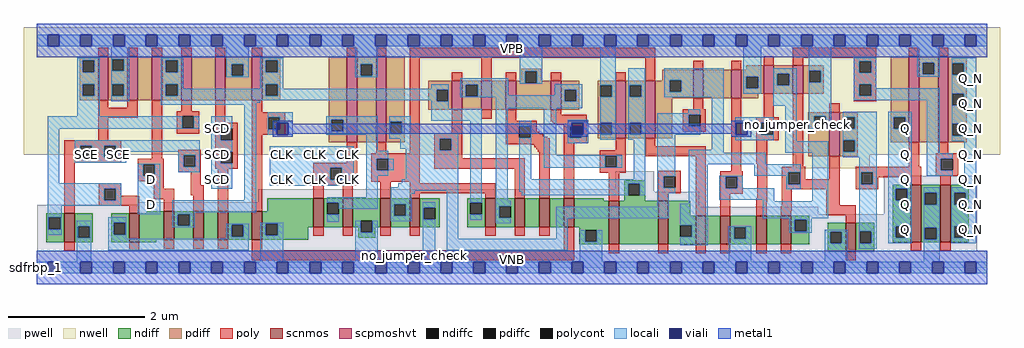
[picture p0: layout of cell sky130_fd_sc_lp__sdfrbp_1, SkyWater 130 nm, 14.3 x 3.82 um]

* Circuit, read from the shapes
.subckt sky130_fd_sc_lp__sdfrbp_1 CLK D RESET_B SCD SCE VGND VNB VPB VPWR Q Q_N
XM1 VGND SCE n1 VNB sky130_fd_pr__nfet_01v8 w=0.42 l=0.15
XM2 n2 n1 n3 VNB sky130_fd_pr__nfet_01v8 w=0.42 l=0.15
XM3 n4 D n2 VNB sky130_fd_pr__nfet_01v8 w=0.42 l=0.15
XM4 n5 SCE n4 VNB sky130_fd_pr__nfet_01v8 w=0.42 l=0.15
XM5 n3 SCD n5 VNB sky130_fd_pr__nfet_01v8 w=0.42 l=0.15
XM6 VGND RESET_B n3 VNB sky130_fd_pr__nfet_01v8 w=0.42 l=0.15
XM7 n6 CLK VGND VNB sky130_fd_pr__nfet_01v8 w=0.42 l=0.15 m=2
XM8 n7 n6 VGND VNB sky130_fd_pr__nfet_01v8 w=0.42 l=0.15 m=2
XM9 n8 n6 n4 VNB sky130_fd_pr__nfet_01v8 w=0.42 l=0.15
XM10 n9 n7 n8 VNB sky130_fd_pr__nfet_01v8 w=0.42 l=0.15
XM11 n10 n11 n9 VNB sky130_fd_pr__nfet_01v8 w=0.42 l=0.15
XM12 VGND RESET_B n10 VNB sky130_fd_pr__nfet_01v8 w=0.42 l=0.15
XM13 n11 n8 VGND VNB sky130_fd_pr__nfet_01v8 w=0.64 l=0.15
XM14 n12 n7 n11 VNB sky130_fd_pr__nfet_01v8 w=0.64 l=0.15
XM15 n13 n6 n12 VNB sky130_fd_pr__nfet_01v8 w=0.42 l=0.15
XM16 VGND n14 n13 VNB sky130_fd_pr__nfet_01v8 w=0.42 l=0.15
XM17 n15 RESET_B VGND VNB sky130_fd_pr__nfet_01v8 w=0.42 l=0.15
XM18 n14 n12 n15 VNB sky130_fd_pr__nfet_01v8 w=0.42 l=0.15
XM19 n16 n12 VGND VNB sky130_fd_pr__nfet_01v8 w=0.42 l=0.15
XM20 VGND n16 Q VNB sky130_fd_pr__nfet_01v8 w=0.84 l=0.15
XM21 Q_N n12 VGND VNB sky130_fd_pr__nfet_01v8 w=0.84 l=0.15
XM22 VPWR SCE n1 VPB sky130_fd_pr__pfet_01v8_hvt w=0.64 l=0.15
XM23 n17 SCE VPWR VPB sky130_fd_pr__pfet_01v8_hvt w=0.64 l=0.15
XM24 n4 D n17 VPB sky130_fd_pr__pfet_01v8_hvt w=0.64 l=0.15
XM25 n18 n1 n4 VPB sky130_fd_pr__pfet_01v8_hvt w=0.64 l=0.15
XM26 VPWR SCD n18 VPB sky130_fd_pr__pfet_01v8_hvt w=0.64 l=0.15
XM27 n4 RESET_B VPWR VPB sky130_fd_pr__pfet_01v8_hvt w=0.64 l=0.15
XM28 VPWR CLK n6 VPB sky130_fd_pr__pfet_01v8_hvt w=1.26 l=0.15
XM29 n7 n6 VPWR VPB sky130_fd_pr__pfet_01v8_hvt w=1.26 l=0.15
XM30 n8 n7 n4 VPB sky130_fd_pr__pfet_01v8_hvt w=0.42 l=0.15
XM31 n19 n6 n8 VPB sky130_fd_pr__pfet_01v8_hvt w=0.42 l=0.15
XM32 VPWR n11 n19 VPB sky130_fd_pr__pfet_01v8_hvt w=0.42 l=0.15
XM33 n8 RESET_B VPWR VPB sky130_fd_pr__pfet_01v8_hvt w=0.42 l=0.15
XM34 n11 n8 VPWR VPB sky130_fd_pr__pfet_01v8_hvt w=0.84 l=0.15
XM35 n12 n6 n11 VPB sky130_fd_pr__pfet_01v8_hvt w=0.84 l=0.15
XM36 n20 n7 n12 VPB sky130_fd_pr__pfet_01v8_hvt w=0.42 l=0.15
XM37 VPWR n14 n20 VPB sky130_fd_pr__pfet_01v8_hvt w=0.42 l=0.15
XM38 n14 RESET_B VPWR VPB sky130_fd_pr__pfet_01v8_hvt w=0.42 l=0.15
XM39 VPWR n12 n14 VPB sky130_fd_pr__pfet_01v8_hvt w=0.42 l=0.15
XM40 n16 n12 VPWR VPB sky130_fd_pr__pfet_01v8_hvt w=0.64 l=0.15
XM41 VPWR n16 Q VPB sky130_fd_pr__pfet_01v8_hvt w=1.26 l=0.15
XM42 Q_N n12 VPWR VPB sky130_fd_pr__pfet_01v8_hvt w=1.26 l=0.15
.ends

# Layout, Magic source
magic
tech sky130A
magscale 1 2
<< nwell >>
rect -38 331 2822 704
rect 2224 291 2441 331
<< pwell >>
rect 1695 229 1809 282
rect 649 222 1809 229
rect 649 191 1941 222
rect 296 185 1941 191
rect 1 178 1941 185
rect 1 157 2289 178
rect 2482 157 2756 269
rect 1 49 2756 157
rect 0 0 2784 49
<< scnmos >>
rect 80 75 110 159
rect 270 75 300 159
rect 372 81 402 165
rect 458 81 488 165
rect 530 81 560 165
rect 630 81 660 165
rect 810 119 840 203
rect 896 119 926 203
rect 1006 119 1036 203
rect 1092 119 1122 203
rect 1314 119 1344 203
rect 1400 119 1430 203
rect 1472 119 1502 203
rect 1544 119 1574 203
rect 1676 68 1706 196
rect 1820 68 1850 196
rect 1930 68 1960 152
rect 2002 68 2032 152
rect 2108 68 2138 152
rect 2180 68 2210 152
rect 2370 47 2400 131
rect 2561 75 2591 243
rect 2647 75 2677 243
<< scpmoshvt >>
rect 179 491 209 619
rect 265 491 295 619
rect 337 491 367 619
rect 423 491 453 619
rect 522 491 552 619
rect 630 491 660 619
rect 908 367 938 619
rect 994 367 1024 619
rect 1216 463 1246 547
rect 1302 463 1332 547
rect 1374 463 1404 547
rect 1506 463 1536 547
rect 1696 379 1726 547
rect 1782 379 1812 547
rect 1923 496 1953 580
rect 2034 496 2064 580
rect 2129 509 2159 593
rect 2215 509 2245 593
rect 2322 327 2352 455
rect 2555 367 2585 619
rect 2641 367 2671 619
<< ndiff >>
rect 675 165 810 203
rect 322 159 372 165
rect 27 147 80 159
rect 27 113 35 147
rect 69 113 80 147
rect 27 75 80 113
rect 110 121 163 159
rect 110 87 121 121
rect 155 87 163 121
rect 110 75 163 87
rect 217 131 270 159
rect 217 97 225 131
rect 259 97 270 131
rect 217 75 270 97
rect 300 81 372 159
rect 402 157 458 165
rect 402 123 413 157
rect 447 123 458 157
rect 402 81 458 123
rect 488 81 530 165
rect 560 125 630 165
rect 560 91 571 125
rect 605 91 630 125
rect 560 81 630 91
rect 660 129 810 165
rect 660 95 671 129
rect 705 119 810 129
rect 840 190 896 203
rect 840 156 851 190
rect 885 156 896 190
rect 840 119 896 156
rect 926 138 1006 203
rect 926 119 949 138
rect 705 95 795 119
rect 660 81 795 95
rect 941 104 949 119
rect 983 119 1006 138
rect 1036 186 1092 203
rect 1036 152 1047 186
rect 1081 152 1092 186
rect 1036 119 1092 152
rect 1122 176 1181 203
rect 1122 142 1133 176
rect 1167 142 1181 176
rect 1122 119 1181 142
rect 1261 190 1314 203
rect 1261 156 1269 190
rect 1303 156 1314 190
rect 1261 119 1314 156
rect 1344 180 1400 203
rect 1344 146 1355 180
rect 1389 146 1400 180
rect 1344 119 1400 146
rect 1430 119 1472 203
rect 1502 119 1544 203
rect 1574 196 1661 203
rect 1721 246 1783 256
rect 1721 212 1733 246
rect 1767 212 1783 246
rect 1721 196 1783 212
rect 1574 119 1676 196
rect 983 104 991 119
rect 941 88 991 104
rect 300 75 350 81
rect 1589 110 1676 119
rect 1589 76 1606 110
rect 1640 76 1676 110
rect 1589 68 1676 76
rect 1706 68 1820 196
rect 1850 152 1915 196
rect 2508 231 2561 243
rect 2508 197 2516 231
rect 2550 197 2561 231
rect 1850 124 1930 152
rect 1850 90 1885 124
rect 1919 90 1930 124
rect 1850 68 1930 90
rect 1960 68 2002 152
rect 2032 118 2108 152
rect 2032 84 2043 118
rect 2077 84 2108 118
rect 2032 68 2108 84
rect 2138 68 2180 152
rect 2210 140 2263 152
rect 2210 106 2221 140
rect 2255 106 2263 140
rect 2210 68 2263 106
rect 2317 105 2370 131
rect 2317 71 2325 105
rect 2359 71 2370 105
rect 2317 47 2370 71
rect 2400 106 2453 131
rect 2400 72 2411 106
rect 2445 72 2453 106
rect 2508 121 2561 197
rect 2508 87 2516 121
rect 2550 87 2561 121
rect 2508 75 2561 87
rect 2591 219 2647 243
rect 2591 185 2602 219
rect 2636 185 2647 219
rect 2591 117 2647 185
rect 2591 83 2602 117
rect 2636 83 2647 117
rect 2591 75 2647 83
rect 2677 219 2730 243
rect 2677 185 2688 219
rect 2722 185 2730 219
rect 2677 121 2730 185
rect 2677 87 2688 121
rect 2722 87 2730 121
rect 2677 75 2730 87
rect 2400 47 2453 72
<< pdiff >>
rect 126 607 179 619
rect 126 573 134 607
rect 168 573 179 607
rect 126 537 179 573
rect 126 503 134 537
rect 168 503 179 537
rect 126 491 179 503
rect 209 611 265 619
rect 209 577 220 611
rect 254 577 265 611
rect 209 537 265 577
rect 209 503 220 537
rect 254 503 265 537
rect 209 491 265 503
rect 295 491 337 619
rect 367 607 423 619
rect 367 573 378 607
rect 412 573 423 607
rect 367 537 423 573
rect 367 503 378 537
rect 412 503 423 537
rect 367 491 423 503
rect 453 491 522 619
rect 552 596 630 619
rect 552 562 571 596
rect 605 562 630 596
rect 552 491 630 562
rect 660 607 713 619
rect 660 573 671 607
rect 705 573 713 607
rect 660 537 713 573
rect 660 503 671 537
rect 705 503 713 537
rect 660 491 713 503
rect 855 433 908 619
rect 855 399 863 433
rect 897 399 908 433
rect 855 367 908 399
rect 938 596 994 619
rect 938 562 949 596
rect 983 562 994 596
rect 938 367 994 562
rect 1024 427 1077 619
rect 1024 393 1035 427
rect 1069 393 1077 427
rect 1024 367 1077 393
rect 1419 575 1477 583
rect 1419 547 1431 575
rect 1147 521 1216 547
rect 1147 487 1171 521
rect 1205 487 1216 521
rect 1147 463 1216 487
rect 1246 536 1302 547
rect 1246 502 1257 536
rect 1291 502 1302 536
rect 1246 463 1302 502
rect 1332 463 1374 547
rect 1404 541 1431 547
rect 1465 547 1477 575
rect 2079 580 2129 593
rect 1832 549 1923 580
rect 1832 547 1854 549
rect 1465 541 1506 547
rect 1404 463 1506 541
rect 1536 521 1589 547
rect 1536 487 1547 521
rect 1581 487 1589 521
rect 1536 463 1589 487
rect 1643 535 1696 547
rect 1643 501 1651 535
rect 1685 501 1696 535
rect 1643 425 1696 501
rect 1643 391 1651 425
rect 1685 391 1696 425
rect 1643 379 1696 391
rect 1726 535 1782 547
rect 1726 501 1737 535
rect 1771 501 1782 535
rect 1726 425 1782 501
rect 1726 391 1737 425
rect 1771 391 1782 425
rect 1726 379 1782 391
rect 1812 515 1854 547
rect 1888 515 1923 549
rect 1812 496 1923 515
rect 1953 496 2034 580
rect 2064 559 2129 580
rect 2064 525 2079 559
rect 2113 525 2129 559
rect 2064 509 2129 525
rect 2159 568 2215 593
rect 2159 534 2170 568
rect 2204 534 2215 568
rect 2159 509 2215 534
rect 2245 577 2305 593
rect 2245 543 2263 577
rect 2297 543 2305 577
rect 2245 509 2305 543
rect 2064 496 2114 509
rect 1812 379 1862 496
rect 2260 443 2322 455
rect 2260 409 2277 443
rect 2311 409 2322 443
rect 2260 327 2322 409
rect 2352 441 2405 455
rect 2352 407 2363 441
rect 2397 407 2405 441
rect 2352 373 2405 407
rect 2352 339 2363 373
rect 2397 339 2405 373
rect 2502 441 2555 619
rect 2502 407 2510 441
rect 2544 407 2555 441
rect 2502 367 2555 407
rect 2585 601 2641 619
rect 2585 567 2596 601
rect 2630 567 2641 601
rect 2585 367 2641 567
rect 2671 599 2724 619
rect 2671 565 2682 599
rect 2716 565 2724 599
rect 2671 510 2724 565
rect 2671 476 2682 510
rect 2716 476 2724 510
rect 2671 421 2724 476
rect 2671 387 2682 421
rect 2716 387 2724 421
rect 2671 367 2724 387
rect 2352 327 2405 339
<< ndiffc >>
rect 35 113 69 147
rect 121 87 155 121
rect 225 97 259 131
rect 413 123 447 157
rect 571 91 605 125
rect 671 95 705 129
rect 851 156 885 190
rect 949 104 983 138
rect 1047 152 1081 186
rect 1133 142 1167 176
rect 1269 156 1303 190
rect 1355 146 1389 180
rect 1733 212 1767 246
rect 1606 76 1640 110
rect 2516 197 2550 231
rect 1885 90 1919 124
rect 2043 84 2077 118
rect 2221 106 2255 140
rect 2325 71 2359 105
rect 2411 72 2445 106
rect 2516 87 2550 121
rect 2602 185 2636 219
rect 2602 83 2636 117
rect 2688 185 2722 219
rect 2688 87 2722 121
<< pdiffc >>
rect 134 573 168 607
rect 134 503 168 537
rect 220 577 254 611
rect 220 503 254 537
rect 378 573 412 607
rect 378 503 412 537
rect 571 562 605 596
rect 671 573 705 607
rect 671 503 705 537
rect 863 399 897 433
rect 949 562 983 596
rect 1035 393 1069 427
rect 1171 487 1205 521
rect 1257 502 1291 536
rect 1431 541 1465 575
rect 1547 487 1581 521
rect 1651 501 1685 535
rect 1651 391 1685 425
rect 1737 501 1771 535
rect 1737 391 1771 425
rect 1854 515 1888 549
rect 2079 525 2113 559
rect 2170 534 2204 568
rect 2263 543 2297 577
rect 2277 409 2311 443
rect 2363 407 2397 441
rect 2363 339 2397 373
rect 2510 407 2544 441
rect 2596 567 2630 601
rect 2682 565 2716 599
rect 2682 476 2716 510
rect 2682 387 2716 421
<< poly >>
rect 179 619 209 645
rect 265 619 295 645
rect 337 619 367 645
rect 423 619 453 645
rect 522 619 552 645
rect 630 619 660 645
rect 908 619 938 645
rect 994 619 1024 645
rect 179 469 209 491
rect 265 469 295 491
rect 179 439 295 469
rect 179 373 209 439
rect 80 357 247 373
rect 80 323 127 357
rect 161 323 197 357
rect 231 323 247 357
rect 80 307 247 323
rect 337 319 367 491
rect 423 459 453 491
rect 409 443 475 459
rect 409 409 425 443
rect 459 409 475 443
rect 409 393 475 409
rect 522 424 552 491
rect 630 456 660 491
rect 630 440 728 456
rect 522 408 588 424
rect 522 374 538 408
rect 572 374 588 408
rect 414 329 480 345
rect 80 159 110 307
rect 295 303 372 319
rect 295 269 311 303
rect 345 269 372 303
rect 414 295 430 329
rect 464 295 480 329
rect 414 279 480 295
rect 522 340 588 374
rect 522 306 538 340
rect 572 306 588 340
rect 522 290 588 306
rect 630 406 678 440
rect 712 406 728 440
rect 630 390 728 406
rect 295 253 372 269
rect 181 231 247 247
rect 181 197 197 231
rect 231 211 247 231
rect 342 231 372 253
rect 450 242 480 279
rect 231 197 300 211
rect 342 201 402 231
rect 450 212 488 242
rect 181 181 300 197
rect 270 159 300 181
rect 372 165 402 201
rect 458 165 488 212
rect 530 165 560 290
rect 630 165 660 390
rect 1092 615 1812 645
rect 908 308 938 367
rect 994 335 1024 367
rect 1092 335 1122 615
rect 1216 547 1246 573
rect 1302 547 1332 615
rect 1374 547 1404 573
rect 1506 547 1536 573
rect 1696 547 1726 573
rect 1782 547 1812 615
rect 1923 580 1953 606
rect 2034 580 2064 606
rect 2129 593 2159 619
rect 2215 615 2460 645
rect 2555 619 2585 645
rect 2641 619 2671 645
rect 2215 593 2245 615
rect 2394 605 2460 615
rect 1216 394 1246 463
rect 1302 437 1332 463
rect 810 292 938 308
rect 810 258 859 292
rect 893 258 938 292
rect 810 242 938 258
rect 980 319 1122 335
rect 980 285 996 319
rect 1030 285 1122 319
rect 1164 378 1246 394
rect 1164 344 1180 378
rect 1214 344 1246 378
rect 1374 431 1404 463
rect 1506 448 1536 463
rect 1374 415 1464 431
rect 1506 429 1611 448
rect 1510 426 1611 429
rect 1515 422 1611 426
rect 1519 418 1611 422
rect 1374 381 1413 415
rect 1447 398 1464 415
rect 1544 415 1611 418
rect 1447 392 1472 398
rect 1447 383 1484 392
rect 1447 381 1495 383
rect 1374 379 1495 381
rect 1544 381 1561 415
rect 1595 381 1611 415
rect 1374 362 1502 379
rect 1446 360 1502 362
rect 1457 353 1502 360
rect 1463 347 1502 353
rect 1164 320 1246 344
rect 1468 339 1502 347
rect 1164 290 1430 320
rect 980 252 1122 285
rect 810 203 840 242
rect 896 203 926 242
rect 1006 203 1036 252
rect 1092 248 1122 252
rect 1092 218 1344 248
rect 1092 203 1122 218
rect 1314 203 1344 218
rect 1400 203 1430 290
rect 1472 203 1502 339
rect 1544 364 1611 381
rect 2394 571 2410 605
rect 2444 571 2460 605
rect 2394 537 2460 571
rect 1923 464 1953 496
rect 1892 448 1960 464
rect 1892 414 1910 448
rect 1944 414 1960 448
rect 1892 398 1960 414
rect 1544 203 1574 364
rect 1696 344 1726 379
rect 1649 328 1726 344
rect 1649 294 1665 328
rect 1699 294 1726 328
rect 1782 356 1812 379
rect 1782 326 1960 356
rect 1649 278 1726 294
rect 810 93 840 119
rect 896 93 926 119
rect 1676 196 1706 278
rect 1820 268 1886 284
rect 1820 234 1836 268
rect 1870 234 1886 268
rect 1820 218 1886 234
rect 1820 196 1850 218
rect 1006 93 1036 119
rect 1092 93 1122 119
rect 1314 93 1344 119
rect 1400 93 1430 119
rect 1472 93 1502 119
rect 80 49 110 75
rect 270 49 300 75
rect 372 55 402 81
rect 458 55 488 81
rect 530 55 560 81
rect 630 51 660 81
rect 1544 51 1574 119
rect 1930 152 1960 326
rect 2034 283 2064 496
rect 2129 440 2159 509
rect 2107 424 2173 440
rect 2107 390 2123 424
rect 2157 390 2173 424
rect 2107 374 2173 390
rect 2108 304 2140 374
rect 2002 267 2068 283
rect 2002 233 2018 267
rect 2052 233 2068 267
rect 2002 217 2068 233
rect 2002 152 2032 217
rect 2110 204 2140 304
rect 2215 295 2245 509
rect 2394 503 2410 537
rect 2444 503 2460 537
rect 2394 487 2460 503
rect 2322 455 2352 481
rect 2108 193 2140 204
rect 2182 279 2252 295
rect 2182 245 2202 279
rect 2236 259 2252 279
rect 2322 259 2352 327
rect 2555 295 2585 367
rect 2641 335 2671 367
rect 2633 319 2699 335
rect 2236 245 2352 259
rect 2182 229 2352 245
rect 2399 279 2591 295
rect 2399 245 2415 279
rect 2449 265 2591 279
rect 2633 285 2649 319
rect 2683 285 2699 319
rect 2633 269 2699 285
rect 2449 245 2465 265
rect 2399 229 2465 245
rect 2561 243 2591 265
rect 2647 243 2677 269
rect 2108 152 2138 193
rect 2182 180 2212 229
rect 2180 167 2212 180
rect 2313 183 2352 229
rect 2180 152 2210 167
rect 2313 153 2400 183
rect 2370 131 2400 153
rect 630 21 1574 51
rect 1676 42 1706 68
rect 1820 42 1850 68
rect 1930 42 1960 68
rect 2002 42 2032 68
rect 2108 42 2138 68
rect 2180 42 2210 68
rect 2561 49 2591 75
rect 2647 49 2677 75
rect 2370 21 2400 47
<< polycont >>
rect 127 323 161 357
rect 197 323 231 357
rect 425 409 459 443
rect 538 374 572 408
rect 311 269 345 303
rect 430 295 464 329
rect 538 306 572 340
rect 678 406 712 440
rect 197 197 231 231
rect 859 258 893 292
rect 996 285 1030 319
rect 1180 344 1214 378
rect 1413 381 1447 415
rect 1561 381 1595 415
rect 2410 571 2444 605
rect 1910 414 1944 448
rect 1665 294 1699 328
rect 1836 234 1870 268
rect 2123 390 2157 424
rect 2018 233 2052 267
rect 2410 503 2444 537
rect 2202 245 2236 279
rect 2415 245 2449 279
rect 2649 285 2683 319
<< locali >>
rect 0 649 31 683
rect 65 649 127 683
rect 161 649 223 683
rect 257 649 319 683
rect 353 649 415 683
rect 449 649 511 683
rect 545 649 607 683
rect 641 649 703 683
rect 737 649 799 683
rect 833 649 895 683
rect 929 649 991 683
rect 1025 649 1087 683
rect 1121 649 1183 683
rect 1217 649 1279 683
rect 1313 649 1375 683
rect 1409 649 1471 683
rect 1505 649 1567 683
rect 1601 649 1663 683
rect 1697 649 1759 683
rect 1793 649 1855 683
rect 1889 649 1951 683
rect 1985 649 2047 683
rect 2081 649 2143 683
rect 2177 649 2239 683
rect 2273 649 2335 683
rect 2369 649 2431 683
rect 2465 649 2527 683
rect 2561 649 2623 683
rect 2657 649 2719 683
rect 2753 649 2784 683
rect 118 607 184 615
rect 118 573 134 607
rect 168 573 184 607
rect 118 537 184 573
rect 118 503 134 537
rect 168 503 184 537
rect 118 443 184 503
rect 218 611 270 649
rect 218 577 220 611
rect 254 577 270 611
rect 218 537 270 577
rect 218 503 220 537
rect 254 503 270 537
rect 218 487 270 503
rect 362 607 428 615
rect 362 573 378 607
rect 412 573 428 607
rect 362 537 428 573
rect 555 596 621 649
rect 555 562 571 596
rect 605 562 621 596
rect 555 558 621 562
rect 655 607 721 615
rect 655 573 671 607
rect 705 573 721 607
rect 362 503 378 537
rect 412 524 428 537
rect 655 537 721 573
rect 933 596 999 649
rect 933 562 949 596
rect 983 562 999 596
rect 933 558 999 562
rect 1415 575 1481 649
rect 655 524 671 537
rect 412 503 671 524
rect 705 524 721 537
rect 1155 524 1207 537
rect 705 521 1207 524
rect 705 503 1171 521
rect 362 490 1171 503
rect 362 483 655 490
rect 1155 487 1171 490
rect 1205 487 1207 521
rect 1241 536 1381 555
rect 1415 541 1431 575
rect 1465 541 1481 575
rect 1415 539 1481 541
rect 1241 502 1257 536
rect 1291 505 1381 536
rect 1517 521 1598 537
rect 1517 505 1547 521
rect 1291 502 1547 505
rect 1241 499 1547 502
rect 362 477 642 483
rect 31 409 425 443
rect 459 409 475 443
rect 31 407 475 409
rect 511 408 572 443
rect 31 247 65 407
rect 511 374 538 408
rect 111 357 477 373
rect 111 323 127 357
rect 161 323 197 357
rect 231 339 477 357
rect 231 323 261 339
rect 111 307 261 323
rect 414 329 477 339
rect 295 303 361 305
rect 295 269 311 303
rect 345 269 361 303
rect 414 295 430 329
rect 464 295 477 329
rect 414 279 477 295
rect 511 340 572 374
rect 511 306 538 340
rect 31 231 247 247
rect 31 197 197 231
rect 231 197 247 231
rect 31 181 247 197
rect 31 147 73 181
rect 295 156 361 269
rect 511 231 572 306
rect 608 197 642 477
rect 1155 465 1207 487
rect 1345 487 1547 499
rect 1581 487 1598 521
rect 1345 467 1598 487
rect 1650 535 1696 649
rect 1650 501 1651 535
rect 1685 501 1696 535
rect 676 440 750 456
rect 676 406 678 440
rect 712 424 750 440
rect 676 390 703 406
rect 737 390 750 424
rect 847 433 999 443
rect 847 399 863 433
rect 897 399 999 433
rect 847 390 999 399
rect 682 292 929 356
rect 682 258 859 292
rect 893 258 929 292
rect 682 240 929 258
rect 965 343 999 390
rect 1033 427 1096 443
rect 1155 431 1303 465
rect 1033 393 1035 427
rect 1069 394 1096 427
rect 1069 393 1235 394
rect 1033 378 1235 393
rect 1033 377 1180 378
rect 1064 348 1180 377
rect 1080 344 1180 348
rect 1214 344 1235 378
rect 965 319 1030 343
rect 965 285 996 319
rect 1030 285 1046 319
rect 965 269 1030 285
rect 965 206 999 269
rect 1080 259 1235 344
rect 1069 247 1235 259
rect 1058 235 1235 247
rect 397 163 642 197
rect 851 190 999 206
rect 397 157 463 163
rect 31 113 35 147
rect 69 113 73 147
rect 31 97 73 113
rect 117 121 159 137
rect 117 87 121 121
rect 155 87 159 121
rect 117 17 159 87
rect 209 131 261 147
rect 209 97 225 131
rect 259 97 261 131
rect 397 123 413 157
rect 447 123 463 157
rect 885 172 999 190
rect 1037 226 1235 235
rect 1037 217 1107 226
rect 1037 186 1097 217
rect 851 134 885 156
rect 1037 152 1047 186
rect 1081 152 1097 186
rect 655 129 721 131
rect 397 119 463 123
rect 555 125 621 129
rect 209 85 261 97
rect 555 91 571 125
rect 605 91 621 125
rect 555 85 621 91
rect 209 51 621 85
rect 655 95 671 129
rect 705 95 721 129
rect 655 17 721 95
rect 933 104 949 138
rect 983 104 999 138
rect 1037 136 1097 152
rect 1131 176 1167 192
rect 1131 142 1133 176
rect 933 17 999 104
rect 1131 17 1167 142
rect 1201 85 1235 226
rect 1269 190 1303 431
rect 1269 140 1303 156
rect 1345 196 1379 467
rect 1413 415 1449 431
rect 1447 381 1449 415
rect 1413 259 1449 381
rect 1485 330 1521 467
rect 1555 424 1616 433
rect 1555 415 1567 424
rect 1555 381 1561 415
rect 1601 390 1616 424
rect 1595 381 1616 390
rect 1555 364 1616 381
rect 1650 425 1696 501
rect 1650 391 1651 425
rect 1685 391 1696 425
rect 1650 375 1696 391
rect 1732 535 1783 584
rect 1732 501 1737 535
rect 1771 501 1783 535
rect 1732 425 1783 501
rect 1838 549 2012 584
rect 1838 515 1854 549
rect 1888 515 2012 549
rect 1838 499 2012 515
rect 2070 559 2122 649
rect 2070 525 2079 559
rect 2113 525 2122 559
rect 2070 509 2122 525
rect 2158 568 2227 584
rect 2158 534 2170 568
rect 2204 534 2227 568
rect 1908 452 1944 464
rect 1732 391 1737 425
rect 1771 391 1783 425
rect 1732 375 1783 391
rect 1485 328 1715 330
rect 1485 294 1665 328
rect 1699 294 1715 328
rect 1485 293 1715 294
rect 1749 259 1783 375
rect 1413 246 1783 259
rect 1413 222 1733 246
rect 1421 212 1733 222
rect 1767 212 1783 246
rect 1817 448 1944 452
rect 1817 414 1910 448
rect 1817 390 1944 414
rect 1817 268 1870 390
rect 1978 345 2012 499
rect 2158 474 2227 534
rect 2046 424 2159 440
rect 2046 390 2047 424
rect 2081 390 2123 424
rect 2157 390 2159 424
rect 2046 374 2159 390
rect 1817 234 1836 268
rect 1817 218 1870 234
rect 1910 337 2012 345
rect 2193 371 2227 474
rect 2261 577 2327 649
rect 2261 543 2263 577
rect 2297 543 2327 577
rect 2261 443 2327 543
rect 2394 605 2460 615
rect 2394 571 2410 605
rect 2444 571 2460 605
rect 2394 537 2460 571
rect 2580 601 2646 649
rect 2580 567 2596 601
rect 2630 567 2646 601
rect 2580 559 2646 567
rect 2680 599 2753 615
rect 2680 565 2682 599
rect 2716 565 2753 599
rect 2394 503 2410 537
rect 2444 525 2460 537
rect 2444 503 2646 525
rect 2394 491 2646 503
rect 2261 409 2277 443
rect 2311 409 2327 443
rect 2261 405 2327 409
rect 2361 441 2461 457
rect 2361 407 2363 441
rect 2397 407 2461 441
rect 2361 373 2461 407
rect 2193 337 2318 371
rect 1910 303 2136 337
rect 1345 180 1389 196
rect 1345 146 1355 180
rect 1817 178 1851 218
rect 1910 187 1966 303
rect 2102 279 2238 303
rect 2102 269 2202 279
rect 2000 267 2068 269
rect 2000 233 2018 267
rect 2052 233 2068 267
rect 2195 245 2202 269
rect 2236 245 2238 279
rect 2000 199 2161 233
rect 2195 229 2238 245
rect 1345 130 1389 146
rect 1522 144 1851 178
rect 1522 85 1556 144
rect 1885 124 1966 187
rect 2127 195 2161 199
rect 2272 195 2318 337
rect 2361 339 2363 373
rect 2397 339 2461 373
rect 2361 323 2461 339
rect 2127 145 2318 195
rect 2409 279 2461 323
rect 2409 245 2415 279
rect 2449 245 2461 279
rect 1201 51 1556 85
rect 1590 76 1606 110
rect 1640 76 1656 110
rect 1590 17 1656 76
rect 1919 90 1966 124
rect 2205 140 2271 145
rect 1885 66 1966 90
rect 2027 118 2093 122
rect 2027 84 2043 118
rect 2077 84 2093 118
rect 2205 106 2221 140
rect 2255 106 2271 140
rect 2205 102 2271 106
rect 2309 105 2375 111
rect 2027 17 2093 84
rect 2309 71 2325 105
rect 2359 71 2375 105
rect 2309 17 2375 71
rect 2409 106 2461 245
rect 2409 72 2411 106
rect 2445 72 2461 106
rect 2409 56 2461 72
rect 2495 441 2564 457
rect 2495 407 2510 441
rect 2544 407 2564 441
rect 2495 231 2564 407
rect 2608 335 2646 491
rect 2680 510 2753 565
rect 2680 476 2682 510
rect 2716 476 2753 510
rect 2680 421 2753 476
rect 2680 387 2682 421
rect 2716 387 2753 421
rect 2680 371 2753 387
rect 2608 319 2683 335
rect 2608 285 2649 319
rect 2608 269 2683 285
rect 2717 235 2753 371
rect 2495 197 2516 231
rect 2550 197 2564 231
rect 2495 121 2564 197
rect 2495 87 2516 121
rect 2550 87 2564 121
rect 2495 71 2564 87
rect 2598 219 2645 235
rect 2598 185 2602 219
rect 2636 185 2645 219
rect 2598 117 2645 185
rect 2598 83 2602 117
rect 2636 83 2645 117
rect 2598 17 2645 83
rect 2679 219 2753 235
rect 2679 185 2688 219
rect 2722 185 2753 219
rect 2679 121 2753 185
rect 2679 87 2688 121
rect 2722 87 2753 121
rect 2679 71 2753 87
rect 0 -17 31 17
rect 65 -17 127 17
rect 161 -17 223 17
rect 257 -17 319 17
rect 353 -17 415 17
rect 449 -17 511 17
rect 545 -17 607 17
rect 641 -17 703 17
rect 737 -17 799 17
rect 833 -17 895 17
rect 929 -17 991 17
rect 1025 -17 1087 17
rect 1121 -17 1183 17
rect 1217 -17 1279 17
rect 1313 -17 1375 17
rect 1409 -17 1471 17
rect 1505 -17 1567 17
rect 1601 -17 1663 17
rect 1697 -17 1759 17
rect 1793 -17 1855 17
rect 1889 -17 1951 17
rect 1985 -17 2047 17
rect 2081 -17 2143 17
rect 2177 -17 2239 17
rect 2273 -17 2335 17
rect 2369 -17 2431 17
rect 2465 -17 2527 17
rect 2561 -17 2623 17
rect 2657 -17 2719 17
rect 2753 -17 2784 17
<< viali >>
rect 31 649 65 683
rect 127 649 161 683
rect 223 649 257 683
rect 319 649 353 683
rect 415 649 449 683
rect 511 649 545 683
rect 607 649 641 683
rect 703 649 737 683
rect 799 649 833 683
rect 895 649 929 683
rect 991 649 1025 683
rect 1087 649 1121 683
rect 1183 649 1217 683
rect 1279 649 1313 683
rect 1375 649 1409 683
rect 1471 649 1505 683
rect 1567 649 1601 683
rect 1663 649 1697 683
rect 1759 649 1793 683
rect 1855 649 1889 683
rect 1951 649 1985 683
rect 2047 649 2081 683
rect 2143 649 2177 683
rect 2239 649 2273 683
rect 2335 649 2369 683
rect 2431 649 2465 683
rect 2527 649 2561 683
rect 2623 649 2657 683
rect 2719 649 2753 683
rect 703 406 712 424
rect 712 406 737 424
rect 703 390 737 406
rect 1567 415 1601 424
rect 1567 390 1595 415
rect 1595 390 1601 415
rect 2047 390 2081 424
rect 31 -17 65 17
rect 127 -17 161 17
rect 223 -17 257 17
rect 319 -17 353 17
rect 415 -17 449 17
rect 511 -17 545 17
rect 607 -17 641 17
rect 703 -17 737 17
rect 799 -17 833 17
rect 895 -17 929 17
rect 991 -17 1025 17
rect 1087 -17 1121 17
rect 1183 -17 1217 17
rect 1279 -17 1313 17
rect 1375 -17 1409 17
rect 1471 -17 1505 17
rect 1567 -17 1601 17
rect 1663 -17 1697 17
rect 1759 -17 1793 17
rect 1855 -17 1889 17
rect 1951 -17 1985 17
rect 2047 -17 2081 17
rect 2143 -17 2177 17
rect 2239 -17 2273 17
rect 2335 -17 2369 17
rect 2431 -17 2465 17
rect 2527 -17 2561 17
rect 2623 -17 2657 17
rect 2719 -17 2753 17
<< metal1 >>
rect 0 683 2784 715
rect 0 649 31 683
rect 65 649 127 683
rect 161 649 223 683
rect 257 649 319 683
rect 353 649 415 683
rect 449 649 511 683
rect 545 649 607 683
rect 641 649 703 683
rect 737 649 799 683
rect 833 649 895 683
rect 929 649 991 683
rect 1025 649 1087 683
rect 1121 649 1183 683
rect 1217 649 1279 683
rect 1313 649 1375 683
rect 1409 649 1471 683
rect 1505 649 1567 683
rect 1601 649 1663 683
rect 1697 649 1759 683
rect 1793 649 1855 683
rect 1889 649 1951 683
rect 1985 649 2047 683
rect 2081 649 2143 683
rect 2177 649 2239 683
rect 2273 649 2335 683
rect 2369 649 2431 683
rect 2465 649 2527 683
rect 2561 649 2623 683
rect 2657 649 2719 683
rect 2753 649 2784 683
rect 0 617 2784 649
rect 691 424 749 430
rect 691 390 703 424
rect 737 421 749 424
rect 1555 424 1613 430
rect 1555 421 1567 424
rect 737 393 1567 421
rect 737 390 749 393
rect 691 384 749 390
rect 1555 390 1567 393
rect 1601 421 1613 424
rect 2035 424 2093 430
rect 2035 421 2047 424
rect 1601 393 2047 421
rect 1601 390 1613 393
rect 1555 384 1613 390
rect 2035 390 2047 393
rect 2081 390 2093 424
rect 2035 384 2093 390
rect 0 17 2784 49
rect 0 -17 31 17
rect 65 -17 127 17
rect 161 -17 223 17
rect 257 -17 319 17
rect 353 -17 415 17
rect 449 -17 511 17
rect 545 -17 607 17
rect 641 -17 703 17
rect 737 -17 799 17
rect 833 -17 895 17
rect 929 -17 991 17
rect 1025 -17 1087 17
rect 1121 -17 1183 17
rect 1217 -17 1279 17
rect 1313 -17 1375 17
rect 1409 -17 1471 17
rect 1505 -17 1567 17
rect 1601 -17 1663 17
rect 1697 -17 1759 17
rect 1793 -17 1855 17
rect 1889 -17 1951 17
rect 1985 -17 2047 17
rect 2081 -17 2143 17
rect 2177 -17 2239 17
rect 2273 -17 2335 17
rect 2369 -17 2431 17
rect 2465 -17 2527 17
rect 2561 -17 2623 17
rect 2657 -17 2719 17
rect 2753 -17 2784 17
rect 0 -49 2784 -17
<< labels >>
flabel pwell s 0 0 2784 49 0 FreeSans 200 0 0 0 VNB
port 7 nsew ground bidirectional
flabel nwell s 0 617 2784 666 0 FreeSans 200 0 0 0 VPB
port 8 nsew power bidirectional
rlabel comment s 0 0 0 0 4 sdfrbp_1
flabel comment s 1477 630 1477 630 0 FreeSans 300 0 0 0 no_jumper_check
flabel comment s 1106 36 1106 36 0 FreeSans 300 0 0 0 no_jumper_check
flabel comment s 2230 418 2230 418 0 FreeSans 200 90 0 0 no_jumper_check
flabel metal1 s 2047 390 2081 424 0 FreeSans 200 0 0 0 RESET_B
port 3 nsew signal input
flabel metal1 s 0 617 2784 666 0 FreeSans 340 0 0 0 VPWR
port 9 nsew power bidirectional
flabel metal1 s 0 0 2784 49 0 FreeSans 340 0 0 0 VGND
port 6 nsew ground bidirectional
flabel locali s 127 316 161 350 0 FreeSans 340 0 0 0 SCE
port 5 nsew signal input
flabel locali s 223 316 257 350 0 FreeSans 340 0 0 0 SCE
port 5 nsew signal input
flabel locali s 703 242 737 276 0 FreeSans 340 0 0 0 CLK
port 1 nsew clock input
flabel locali s 703 316 737 350 0 FreeSans 340 0 0 0 CLK
port 1 nsew clock input
flabel locali s 799 242 833 276 0 FreeSans 340 0 0 0 CLK
port 1 nsew clock input
flabel locali s 799 316 833 350 0 FreeSans 340 0 0 0 CLK
port 1 nsew clock input
flabel locali s 895 242 929 276 0 FreeSans 340 0 0 0 CLK
port 1 nsew clock input
flabel locali s 895 316 929 350 0 FreeSans 340 0 0 0 CLK
port 1 nsew clock input
flabel locali s 511 242 545 276 0 FreeSans 340 0 0 0 SCD
port 4 nsew signal input
flabel locali s 511 316 545 350 0 FreeSans 340 0 0 0 SCD
port 4 nsew signal input
flabel locali s 511 390 545 424 0 FreeSans 340 0 0 0 SCD
port 4 nsew signal input
flabel locali s 319 168 353 202 0 FreeSans 340 0 0 0 D
port 2 nsew signal input
flabel locali s 319 242 353 276 0 FreeSans 340 0 0 0 D
port 2 nsew signal input
flabel locali s 2527 94 2561 128 0 FreeSans 340 0 0 0 Q
port 10 nsew signal output
flabel locali s 2527 168 2561 202 0 FreeSans 340 0 0 0 Q
port 10 nsew signal output
flabel locali s 2527 242 2561 276 0 FreeSans 340 0 0 0 Q
port 10 nsew signal output
flabel locali s 2527 316 2561 350 0 FreeSans 340 0 0 0 Q
port 10 nsew signal output
flabel locali s 2527 390 2561 424 0 FreeSans 340 0 0 0 Q
port 10 nsew signal output
flabel locali s 2719 94 2753 128 0 FreeSans 340 0 0 0 Q_N
port 11 nsew signal output
flabel locali s 2719 168 2753 202 0 FreeSans 340 0 0 0 Q_N
port 11 nsew signal output
flabel locali s 2719 242 2753 276 0 FreeSans 340 0 0 0 Q_N
port 11 nsew signal output
flabel locali s 2719 316 2753 350 0 FreeSans 340 0 0 0 Q_N
port 11 nsew signal output
flabel locali s 2719 390 2753 424 0 FreeSans 340 0 0 0 Q_N
port 11 nsew signal output
flabel locali s 2719 464 2753 498 0 FreeSans 340 0 0 0 Q_N
port 11 nsew signal output
flabel locali s 2719 538 2753 572 0 FreeSans 340 0 0 0 Q_N
port 11 nsew signal output
<< properties >>
string LEFsite unit
string LEFclass CORE
string FIXED_BBOX 0 0 2784 666
string GDS_FILE $PDKPATH/libs.ref/sky130_fd_sc_lp/gds/sky130_fd_sc_lp.gds
string LEFsymmetry R90
string GDS_END 6455802
string GDS_START 6432598
<< end >>
